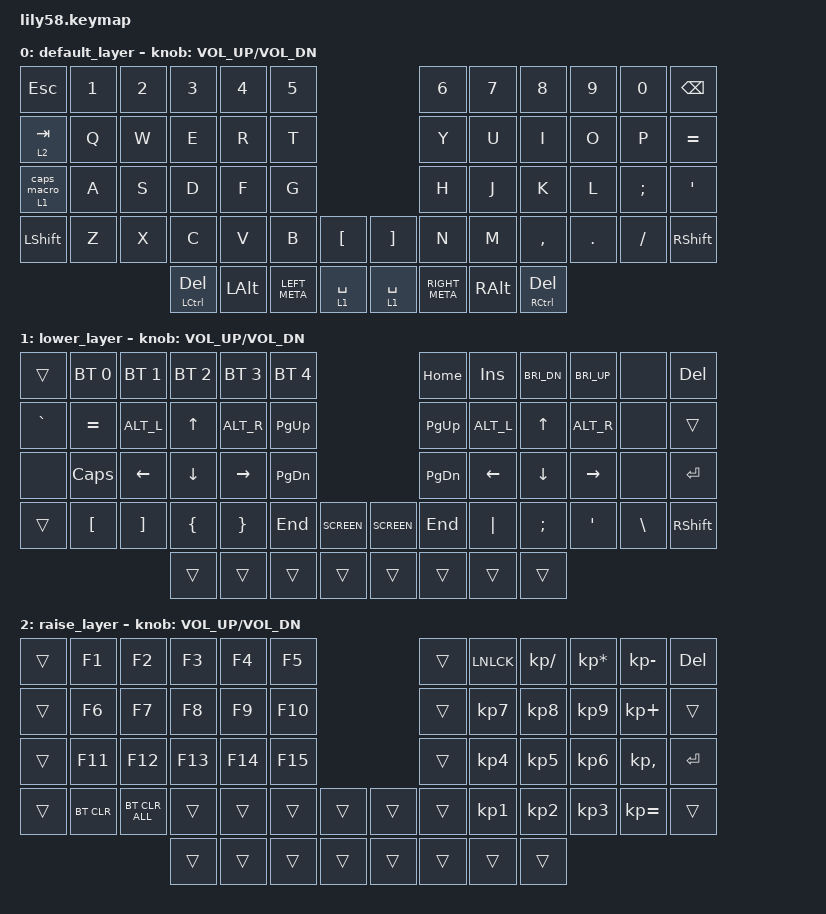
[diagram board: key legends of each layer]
/*
 * Copyright (c) 2020 The ZMK Contributors
 *
 * SPDX-License-Identifier: MIT
 */

#include <behaviors.dtsi>
#include <dt-bindings/zmk/keys.h>
#include <dt-bindings/zmk/bt.h>
#include <dt-bindings/zmk/ext_power.h>

/ {
   macros {
        ALT_R: ALT_R {
            compatible = "zmk,behavior-macro";
            #binding-cells = <0>;
            bindings
                = <&macro_press &kp LALT>
                , <&macro_tap &kp RIGHT>
                , <&macro_release &kp LALT>
                ;
        };
        
        ALT_L: ALT_L {
            compatible = "zmk,behavior-macro";
            #binding-cells = <0>;
            bindings
                = <&macro_press &kp LALT>
                , <&macro_tap &kp LEFT>
                , <&macro_release &kp LALT>
                ;
        };
        SCREEN: SCREEN {
            compatible = "zmk,behavior-macro";
            #binding-cells = <0>;
            bindings
                = <&macro_press &kp LEFT_META>
                , <&macro_press &kp LSHFT>
                , <&macro_tap &kp N4>
                , <&macro_release &kp LEFT_META>
                , <&macro_release &kp LSHFT>
                ;
        };
        caps_macro: caps_macro {
            compatible = "zmk,behavior-macro";
            #binding-cells = <0>;
            tap-ms = <100>;    // Add delay for MacOS Caps Lock recognition
            wait-ms = <100>;   // Additional wait to ensure recognition
            bindings = <&kp CAPS>;
        };
    };

    behaviors {
        lt_caps: layer_tap_caps {
            compatible = "zmk,behavior-hold-tap";
            #binding-cells = <2>;
            tapping-term-ms = <250>;
            quick-tap-ms = <200>;
            flavor = "tap-preferred";
            bindings = <&mo>, <&caps_macro>;  // Use the macro instead of direct kp
        };
    };
};

/ {
    keymap {
        compatible = "zmk,keymap";

        default_layer {
// ------------------------------------------------------------------------------------------------------------
// |  ESC  |   1   |   2   |   3   |   4   |   5   |                   |   6   |   7   |   8   |   9   |   0   | BSPC  |
// |  TAB  |   Q   |   W   |   E   |   R   |   T   |                   |   Y   |   U   |   I   |   O   |   P   |   -   |
// |  CAPS |   A   |   S   |   D   |   F   |   G   |                   |   H   |   J   |   K   |   L   |   ;   |   '   |
// | SHIFT |   Z   |   X   |   C   |   V   |   B   |  "["  |   |  "]"  |   N   |   M   |   ,   |   .   |   /   | SHIFT |
//                         |  CTRL |  ALT  |  META | SPACE |   | SPACE |  GUI  |  ALT  |  CRTL |
            bindings = <
&kp ESC		    &kp N1   &kp N2   &kp N3          &kp N4     &kp N5                                      &kp N6           &kp N7     &kp N8      &kp N9    &kp N0     &kp BSPC
&lt 2 TAB	    &kp Q    &kp W    &kp E           &kp R      &kp T                                       &kp Y            &kp U      &kp I       &kp O     &kp P      &kp EQUAL
&lt_caps 1 0    &kp A    &kp S    &kp D           &kp F      &kp G                                       &kp H            &kp J      &kp K       &kp L     &kp SEMI   &kp SQT
&kp LSHFT	    &kp Z    &kp X    &kp C           &kp V      &kp B           &kp LBKT      &kp RBKT      &kp N            &kp M      &kp COMMA   &kp DOT   &kp FSLH   &kp RSHFT
                                  &mt LCTRL DEL   &kp LALT   &kp LEFT_META   &lt 1 SPACE   &lt 1 SPACE   &kp RIGHT_META   &kp RALT   &mt RCTRL DEL
            >;

            sensor-bindings = <&inc_dec_kp C_VOL_UP C_VOL_DN>;
        };

        lower_layer {
// ------------------------------------------------------------------------------------------------------------
// |       |  BT1  |  BT2  |  BT3  |  BT4  |  BT5  |                     |  HOME |  INS  | BRI_DN|BRI_UP |       |  DEL   |
// |  "`"  |  "="  | ALT L |  UP   | ALT R |  PgUp |                     |  PGUP | ALT L |  UP   | ALT R |       |  "="   |
// |       |  CAPS | LEFT  | DOWN  | RIGHT |  PgDw |                     |  PGDN | LEFT  | DOWN  | RIGHT |       |  ENTER |
// | SHIFT |  "["  |  "]"  |  "{"  |  "}"  |  End  | SCREEN |   | SCREEN |  END  |  "|"  |   ;   |   :   |  "\"  |  SHIFT |
//                         |  ESC  |  TAB  |  DEL  |        |   |        |  DEL  |  TAB  |  Esc  |
            bindings = <
&trans      &bt BT_SEL 0   &bt BT_SEL 1   &bt BT_SEL 2  &bt BT_SEL 3  &bt BT_SEL 4                        &kp HOME     &kp INS     &kp C_BRI_DN   &kp C_BRI_UP  &none        &kp DEL
&kp GRAVE   &kp EQUAL      &ALT_L         &kp UP        &ALT_R        &kp PG_UP                           &kp PG_UP    &ALT_L      &kp UP         &ALT_R        &none        &trans
&none       &kp CAPS       &kp LEFT       &kp DOWN      &kp RIGHT     &kp PG_DN                           &kp PG_DN    &kp LEFT    &kp DOWN       &kp RIGHT     &none        &kp ENTER
&trans      &kp LBKT       &kp RBKT       &kp LBRC      &kp RBRC      &kp END       &SCREEN    &SCREEN    &kp END      &kp PIPE    &kp SEMI  	   &kp APOS      &kp BSLH     &kp RSHIFT
                                          &trans        &trans        &trans        &trans     &trans     &trans       &trans      &trans
            >;

            sensor-bindings = <&inc_dec_kp C_VOL_UP C_VOL_DN>;
        };

        raise_layer {
// ------------------------------------------------------------------------------------------------------------
// |       |  F1   |  F2   |  F3   |  F4   |  F5   |                   |      |   7   |   8   |   9   |   +   |  DEL  |
// |       |  F6   |  F7   |  F8   |  F9   |  F10  |                   |      |   4   |   5   |   6   |   -   |       | 
// |       |  F11  |  F12  |  F13  |  F14  |  F15  |                   |      |   1   |   2   |   3   |   *   | ENTER |
// | SHIFT | BTCLR |BTCLRA |       |       |       |       |   |       |      |   =   |   0   |   .   |   /   | SHIFT |
//                         |  CTRL |  ALT  |  META |       |   |       | META |  ALT  |  CTRL |
            bindings = <
&trans      &kp F1      &kp F2            &kp F3      &kp F4     &kp F5                                  &trans      &kp LNLCK   &kp KP_DIVIDE  &kp KP_MULTIPLY  &kp KP_MINUS    &kp DEL
&trans      &kp F6      &kp F7            &kp F8      &kp F9     &kp F10                                 &trans      &kp KP_N7   &kp KP_N8      &kp KP_N9        &kp KP_PLUS     &trans
&trans      &kp F11     &kp F12           &kp F13     &kp F14    &kp F15                                 &trans      &kp KP_N4   &kp KP_N5      &kp KP_N6        &kp KP_COMMA    &kp ENTER
&trans      &bt BT_CLR  &bt BT_CLR_ALL    &trans      &trans     &trans    &trans    &trans    &trans    &kp KP_N1   &kp KP_N2   &kp KP_N3      &kp KP_EQUAL     &trans
                                          &trans      &trans     &trans    &trans    &trans    &trans    &trans      &trans
            >;

            sensor-bindings = <&inc_dec_kp C_VOL_UP C_VOL_DN>;
        };
    };
};
